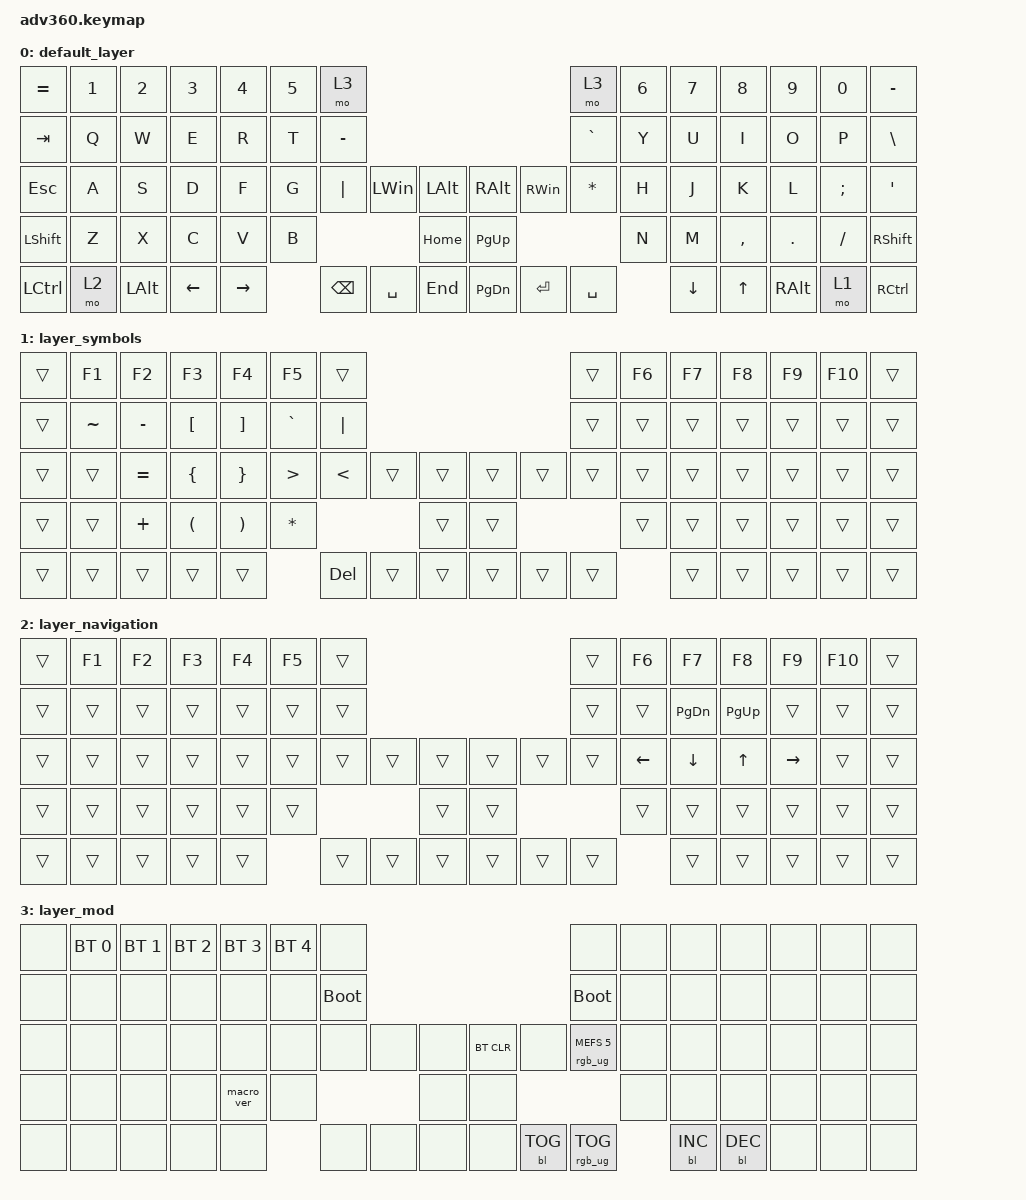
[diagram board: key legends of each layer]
/*
 * Copyright (c) 2020 The ZMK Contributors
 *
 * SPDX-License-Identifier: MIT
 */
/* THIS FILE WAS GENERATED!
 *
 * This file was generated automatically. You may or may not want to
 * edit it directly.
 */

#include <behaviors.dtsi>
#include <dt-bindings/zmk/backlight.h>
#include <dt-bindings/zmk/bt.h>
#include <dt-bindings/zmk/keys.h>
#include <dt-bindings/zmk/rgb.h>

/ {
    behaviors {
        #include "macros.dtsi"
    #include "version.dtsi"

        hm: homerow_mods {
            compatible = "zmk,behavior-hold-tap";
            label = "HOMEROW_MODS";
            #binding-cells = <2>;
            tapping-term-ms = <200>;
            quick_tap_ms = <175>;
            flavor = "tap-preferred";
            bindings = <&kp>, <&kp>;
        };
    };

    keymap {
        compatible = "zmk,keymap";

        default_layer {
            bindings = <
&kp EQUAL  &kp N1  &kp N2        &kp N3    &kp N4     &kp N5  &mo 3                                                            &mo 3      &kp N6  &kp N7    &kp N8     &kp N9         &kp N0    &kp MINUS
&kp TAB    &kp Q   &kp W         &kp E     &kp R      &kp T   &kp MINUS                                                        &kp GRAVE  &kp Y   &kp U     &kp I      &kp O          &kp P     &kp BSLH
&kp ESC    &kp A   &kp S         &kp D     &kp F      &kp G   &kp PIPE   &kp LEFT_WIN  &kp LALT      &kp RIGHT_ALT  &kp RWIN   &kp STAR   &kp H   &kp J     &kp K      &kp L          &kp SEMI  &kp SQT
&kp LSHFT  &kp Z   &kp X         &kp C     &kp V      &kp B                            &kp HOME      &kp PG_UP                            &kp N   &kp M     &kp COMMA  &kp DOT        &kp FSLH  &kp RSHFT
&kp LCTRL  &mo 2   &kp LEFT_ALT  &kp LEFT  &kp RIGHT          &kp BSPC   &kp SPACE     &kp END       &kp PG_DN      &kp ENTER  &kp SPACE          &kp DOWN  &kp UP     &kp RIGHT_ALT  &mo 1     &kp RCTRL
            >;
        };

        layer_symbols {
            bindings = <
&trans  &kp F1     &kp F2     &kp F3                &kp F4                 &kp F5            &trans                                             &trans  &kp F6  &kp F7  &kp F8  &kp F9  &kp F10  &trans
&trans  &kp TILDE  &kp MINUS  &kp LEFT_BRACKET      &kp RIGHT_BRACKET      &kp GRAVE         &kp PIPE                                           &trans  &trans  &trans  &trans  &trans  &trans   &trans
&trans  &trans     &kp EQUAL  &kp LEFT_BRACE        &kp RIGHT_BRACE        &kp GREATER_THAN  &kp LESS_THAN  &trans  &trans      &trans  &trans  &trans  &trans  &trans  &trans  &trans  &trans   &trans
&trans  &trans     &kp PLUS   &kp LEFT_PARENTHESIS  &kp RIGHT_PARENTHESIS  &kp STAR                                 &trans      &trans                  &trans  &trans  &trans  &trans  &trans   &trans
&trans  &trans     &trans     &trans                &trans                                   &kp DEL        &trans  &trans      &trans  &trans  &trans          &trans  &trans  &trans  &trans   &trans
            >;
        };

        layer_navigation {
            bindings = <
&trans  &kp F1  &kp F2  &kp F3  &kp F4  &kp F5  &trans                                      &trans  &kp F6          &kp F7          &kp F8        &kp F9           &kp F10  &trans
&trans  &trans  &trans  &trans  &trans  &trans  &trans                                      &trans  &trans          &kp PG_DN       &kp PG_UP     &trans           &trans   &trans
&trans  &trans  &trans  &trans  &trans  &trans  &trans  &trans  &trans      &trans  &trans  &trans  &kp LEFT_ARROW  &kp DOWN_ARROW  &kp UP_ARROW  &kp RIGHT_ARROW  &trans   &trans
&trans  &trans  &trans  &trans  &trans  &trans                  &trans      &trans                  &trans          &trans          &trans        &trans           &trans   &trans
&trans  &trans  &trans  &trans  &trans          &trans  &trans  &trans      &trans  &trans  &trans                  &trans          &trans        &trans           &trans   &trans
            >;
        };

        layer_mod {
            bindings = <
&none  &bt BT_SEL 0  &bt BT_SEL 1  &bt BT_SEL 2  &bt BT_SEL 3  &bt BT_SEL 4  &none                                                  &none                   &none  &none       &none       &none  &none  &none
&none  &none         &none         &none         &none         &none         &bootloader                                            &bootloader             &none  &none       &none       &none  &none  &none
&none  &none         &none         &none         &none         &none         &none        &none  &none      &bt BT_CLR  &none       &rgb_ug RGB_MEFS_CMD 5  &none  &none       &none       &none  &none  &none
&none  &none         &none         &none         &macro_ver    &none                             &none      &none                                           &none  &none       &none       &none  &none  &none
&none  &none         &none         &none         &none                       &none        &none  &none      &none       &bl BL_TOG  &rgb_ug RGB_TOG                &bl BL_INC  &bl BL_DEC  &none  &none  &none
            >;
        };
    };
};
